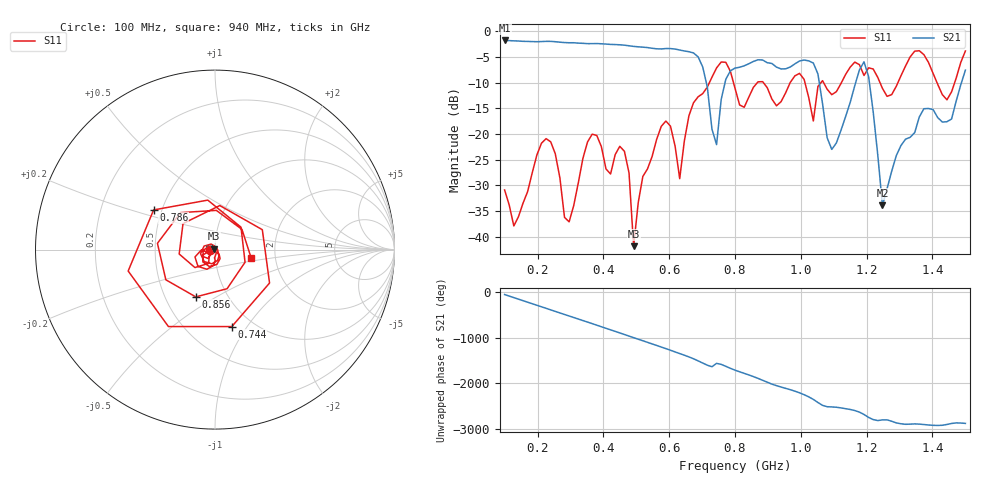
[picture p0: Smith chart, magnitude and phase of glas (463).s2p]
! NanoVNA-App
! Date: 2025-09-25 15:59:05
! Start: 100MHz Stop: 1,5GHz Points: 101
! S-Parameter data: F S11 S21 S12 S22
# Hz S RI R 50
!  Frequency  S11_Real  S11_Imag  S21_Real  S21_Imag  S12_Real  S12_Imag  S22_Real  S22_Imag
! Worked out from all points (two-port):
!   101 points, 100 MHz to 1.5 GHz, reference 50 ohm
!   highest |S21| = -1.80 dB at 100 MHz (marker M1); lowest = -33.9 dB at 1.248 GHz (marker M2)
!   |S21| within 3 dB of the highest: start of sweep to 684.4 MHz
!   lowest |S11| = -41.9 dB at 492 MHz (marker M3), VSWR 1.02, Z = 49.5 + j0.603 ohm
!   |S11| at or under -10 dB: start of sweep to 722.4 MHz; 795.3 MHz to 868.1 MHz (72.82 MHz wide, 8.76 % of centre); 886.1 MHz to 967.7 MHz (81.69 MHz wide, 8.81 % of centre) (the widest 3 of 7)
!   S12 and S22 are empty: the file has one direction only
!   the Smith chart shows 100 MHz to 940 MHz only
!   S11 on the Smith chart (normalised r, x): 100 MHz: 0.95, -0.01; 744 MHz: 0.80, -0.85; 786 MHz: 0.45, +0.24; 856 MHz: 0.71, -0.41; 940 MHz: 1.50, -0.14
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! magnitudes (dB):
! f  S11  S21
! 100 MHz  -30.9  -1.8
! 128 MHz  -37.9  -1.9
! 226 MHz  -20.9  -2.0
! 296 MHz  -37.1  -2.2
! 338 MHz  -24.7  -2.4
! 464 MHz  -23.4  -2.7
! 492 MHz  -41.9  -3.0
! 576 MHz  -18.5  -3.5
! 632 MHz  -28.7  -3.7
! 702 MHz  -12.1  -7.0
! 744 MHz  -7.2  -22.1
! 786 MHz  -7.8  -7.7
! 800 MHz  -11.1  -7.2
! 856 MHz  -10.9  -5.9
! 940 MHz  -13.7  -7.4
! 996 MHz  -8.2  -5.8
! 1.038 GHz  -17.5  -6.2
! 1.094 GHz  -12.4  -23.0
! 1.192 GHz  -8.6  -6.0
! 1.248 GHz  -11.1  -33.9
! 1.276 GHz  -12.4  -27.3
! 1.5 GHz  -3.9  -7.6
